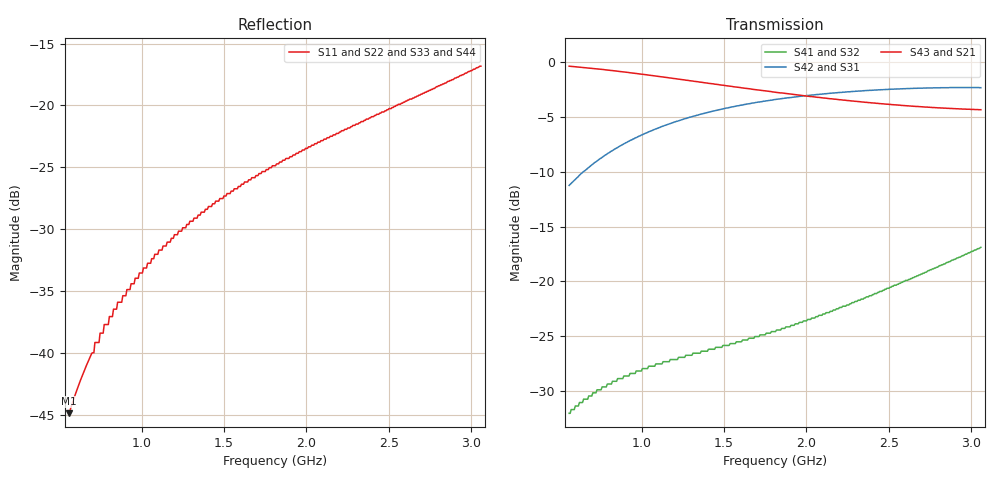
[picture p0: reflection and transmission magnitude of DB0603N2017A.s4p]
!	AVX THIN FILM OPERATION
!	0603 SIZE 3dB 90deg COUPLER P/N DB0603N2017ANTR
!	Created 15 November 2009
!	Network	Analyzer	HP8720E	S.07.64:	"Feb23,"	2000	Serial	No.US39172382
#	MHZ	S	MA	R	50
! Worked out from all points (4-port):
!   400 points, 560 MHz to 3.06 GHz, reference 50 ohm
!   strongest paths, dB at 560 MHz, 1.187 GHz, 1.813 GHz, 2.44 GHz, 3.06 GHz:
!     S43: -0.4, -1.5, -2.7, -3.8, -4.3
!     S21: -0.4, -1.5, -2.7, -3.8, -4.3
!     S42: -11.2, -5.5, -3.4, -2.5, -2.3
!     S31: -11.2, -5.5, -3.4, -2.5, -2.3
!     S41: -32.0, -27.1, -24.6, -21.0, -16.9
!     S32: -32.0, -27.1, -24.6, -21.0, -16.9
!   lowest |S11| = -44.9 dB at 560 MHz (marker M1), VSWR 1.01, Z = 49.6 + j0.344 ohm
!   |S11| at or under -10 dB: start of sweep to end of sweep
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560  0.00569 142.4  0.959 -18.4  0.274 71.6  0.025 72.1
     0.959 -18.4  0.00569 142.4  0.025 72.1  0.274 71.6
     0.274 71.6  0.025 72.1  0.00569 142.4  0.959 -18.4
     0.025 72.1  0.274 71.6  0.959 -18.4  0.00569 142.4
710.376  0.01 135.8  0.935 -23.5  0.346 66.5  0.031 68.1
         0.935 -23.5  0.01 135.8  0.031 68.1  0.346 66.5
         0.346 66.5  0.031 68.1  0.01 135.8  0.935 -23.5
         0.031 68.1  0.346 66.5  0.935 -23.5  0.01 135.8
716.642  0.011 135.6  0.934 -23.7  0.349 66.3  0.031 67.9
         0.934 -23.7  0.011 135.6  0.031 67.9  0.349 66.3
         0.349 66.3  0.031 67.9  0.011 135.6  0.934 -23.7
         0.031 67.9  0.349 66.3  0.934 -23.7  0.011 135.6
854.486  0.016 129.1  0.909 -28.2  0.408 61.8  0.036 65.1
         0.909 -28.2  0.016 129.1  0.036 65.1  0.408 61.8
         0.408 61.8  0.036 65.1  0.016 129.1  0.909 -28.2
         0.036 65.1  0.408 61.8  0.909 -28.2  0.016 129.1
1293.083  0.034 110.5  0.823 -40.7  0.561 49.4  0.046 61.7
          0.823 -40.7  0.034 110.5  0.046 61.7  0.561 49.4
          0.561 49.4  0.046 61.7  0.034 110.5  0.823 -40.7
          0.046 61.7  0.561 49.4  0.823 -40.7  0.034 110.5
2138.947  0.074 85.6  0.682 -58.9  0.721 31.6  0.072 68.4
          0.682 -58.9  0.074 85.6  0.072 68.4  0.721 31.6
          0.721 31.6  0.072 68.4  0.074 85.6  0.682 -58.9
          0.072 68.4  0.721 31.6  0.682 -58.9  0.074 85.6
3060  0.144 67.4  0.607 -75.2  0.765 17.3  0.143 67.6
      0.607 -75.2  0.144 67.4  0.143 67.6  0.765 17.3
      0.765 17.3  0.143 67.6  0.144 67.4  0.607 -75.2
      0.143 67.6  0.765 17.3  0.607 -75.2  0.144 67.4
